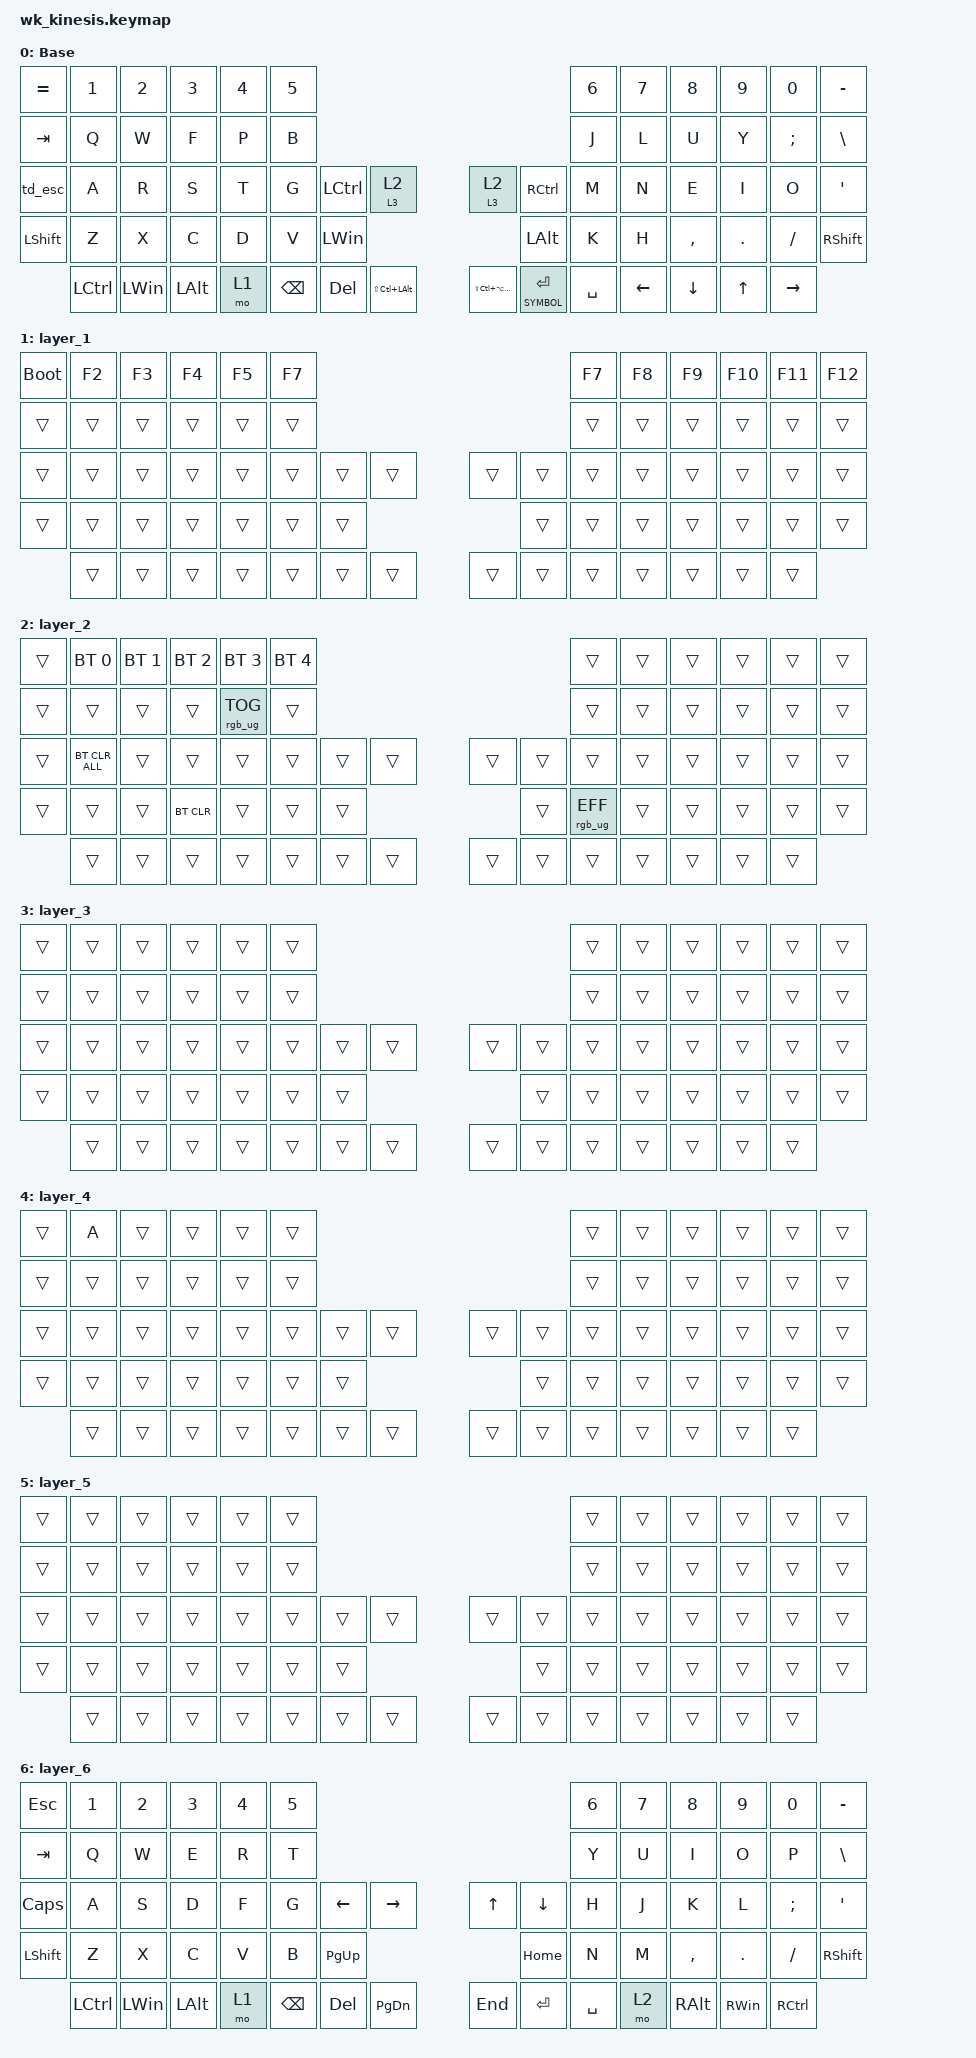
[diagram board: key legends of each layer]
#include <dt-bindings/zmk/mouse.h>
#include <behaviors.dtsi>
#include <dt-bindings/zmk/bt.h>
#include <dt-bindings/zmk/keys.h>
#include <dt-bindings/zmk/rgb.h>

#define HYPER LC(LS(LG(LALT)))
#define MEH LC(LS(LALT))

// layers

#define DEFAULT  0
#define SYMBOL   1
#define NUMBER   2
#define NAV      3
#define QWERTY   4
/ {
    behaviors {
        // For the "layer" key, it'd nice to be able to use it as either a shift or a toggle.
        // Configure it as a tap dance, so the first tap (or hold) is a &mo and the second tap is a &to

        lt: layer_tap {
            compatible = "zmk,behavior-hold-tap";
            #binding-cells = <2>;
            flavor = "hold-preferred";
            tapping-term-ms = <150>;
            bindings = <&mo>, <&kp>;

            display-name = "Layer-Tap";
        };

        td_esc: tap_dance_1 {
            compatible = "zmk,behavior-tap-dance";
            label = "ESC_CAPS";
            #binding-cells = <0>;
            tapping-term-ms = <200>;
            bindings = <&kp ESC>, <&kp CAPS>;
        };

        num_sym: num_sym {
            compatible = "zmk,behavior-hold-tap";
            label = "NUM_SYM";
            bindings = <&mo>, <&to>;

            #binding-cells = <2>;
            tapping-term-ms = <200>;
        };

        f10_qwerty_colemak: f10_qwerty_colemak {
            compatible = "zmk,behavior-tap-dance";
            label = "F10_QWERTY_COLEMAK";
            #binding-cells = <0>;
            bindings = <&kp F10>, <&to 0>, <&to 4>;
        };
    };

    combos {
        compatible = "zmk,combos";

 //       combo_esc {
 //           timeout-ms = <100>;
 //           layers = <0>;
 //           key-positions = <POS_LH_C6R5 POS_RH_C6R5>;
 //           bindings = <&caps_word>;
  //      };

        c_symbols {
            bindings = <&mo 1>;
            key-positions = <46 53>;
        };
    };

    conditional_layers { compatible = "zmk,conditional-layers"; };

    keymap {
        compatible = "zmk,keymap";

        default_layer {
            display-name = "Base";
            bindings = <
&kp EQUAL       &kp N1    &kp N2       &kp N3         &kp N4   &kp N5                                                                                         &kp N6  &kp N7    &kp N8     &kp N9   &kp N0     &kp MINUS
&kp TAB         &kp Q     &kp W        &kp F          &kp P    &kp B                                                                                          &kp J   &kp L     &kp U      &kp Y    &kp SEMI   &kp BSLH
&td_esc         &kp A     &kp R        &kp S          &kp T    &kp G         &kp LCTRL  &num_sym 3 2         &num_sym 3 2    &kp RCTRL                        &kp M   &kp N     &kp E      &kp I    &kp O      &kp SQT
&kp LSHFT      &kp Z      &kp X        &kp C          &kp D    &kp V                    &kp LEFT_WIN         &kp LEFT_ALT                             &kp K   &kp H   &kp COMMA  &kp DOT  &kp FSLH   &kp RSHFT
           &kp LCTRL  &kp LWIN  &kp LEFT_ALT  &mo 1           &kp BACKSPACE  &kp DELETE &kp LS(LC(LALT))     &kp LS(LC(LA(LG(LEFT_GUI))))  &lt SYMBOL RET  &kp SPACE  &kp LEFT  &kp DOWN   &kp UP   &kp RIGHT
            >;
        };

        layer_1 {
            bindings = <
&bootloader   &kp F2  &kp F3   &kp F4   &kp F5   &kp F7                                                       &kp F7   &kp F8   &kp F9   &kp F10   &kp F11   &kp F12 
&trans  &trans  &trans  &trans  &trans  &trans                                                      &trans  &trans  &trans  &trans  &trans  &trans
&trans  &trans  &trans  &trans  &trans  &trans          &trans  &trans      &trans  &trans          &trans  &trans  &trans  &trans  &trans  &trans
&trans  &trans  &trans  &trans  &trans  &trans                  &trans      &trans                  &trans  &trans  &trans  &trans  &trans  &trans
        &trans  &trans  &trans  &trans          &trans  &trans  &trans      &trans  &trans  &trans          &trans  &trans  &trans  &trans
            >;
        };

        layer_2 {
            bindings = <
&trans  &bt BT_SEL 0    &bt BT_SEL 1  &bt BT_SEL 2  &bt BT_SEL 3     &bt BT_SEL 4                                                      &trans           &trans  &trans  &trans  &trans  &trans
&trans  &trans          &trans        &trans        &rgb_ug RGB_TOG  &trans                                                            &trans           &trans  &trans  &trans  &trans  &trans
&trans  &bt BT_CLR_ALL  &trans        &trans        &trans           &trans                &trans  &trans      &trans  &trans          &trans           &trans  &trans  &trans  &trans  &trans
&trans  &trans          &trans        &bt BT_CLR    &trans           &trans                        &trans      &trans                  &rgb_ug RGB_EFF  &trans  &trans  &trans  &trans  &trans
        &trans          &trans        &trans        &trans                         &trans  &trans  &trans      &trans  &trans  &trans                   &trans  &trans  &trans  &trans
            >;
        };

        layer_3 {
            bindings = <
&trans  &trans  &trans  &trans  &trans  &trans                                                      &trans  &trans  &trans  &trans  &trans  &trans
&trans  &trans  &trans  &trans  &trans  &trans                                                      &trans  &trans  &trans  &trans  &trans  &trans
&trans  &trans  &trans  &trans  &trans  &trans          &trans  &trans      &trans  &trans          &trans  &trans  &trans  &trans  &trans  &trans
&trans  &trans  &trans  &trans  &trans  &trans                  &trans      &trans                  &trans  &trans  &trans  &trans  &trans  &trans
        &trans  &trans  &trans  &trans          &trans  &trans  &trans      &trans  &trans  &trans          &trans  &trans  &trans  &trans
            >;
        };

        layer_4 {
            bindings = <
&trans  &kp A   &trans  &trans  &trans  &trans                                                      &trans  &trans  &trans  &trans  &trans  &trans
&trans  &trans  &trans  &trans  &trans  &trans                                                      &trans  &trans  &trans  &trans  &trans  &trans
&trans  &trans  &trans  &trans  &trans  &trans          &trans  &trans      &trans  &trans          &trans  &trans  &trans  &trans  &trans  &trans
&trans  &trans  &trans  &trans  &trans  &trans                  &trans      &trans                  &trans  &trans  &trans  &trans  &trans  &trans
        &trans  &trans  &trans  &trans          &trans  &trans  &trans      &trans  &trans  &trans          &trans  &trans  &trans  &trans
            >;
        };

        layer_5 {
            bindings = <
&trans  &trans  &trans  &trans  &trans  &trans                                                      &trans  &trans  &trans  &trans  &trans  &trans
&trans  &trans  &trans  &trans  &trans  &trans                                                      &trans  &trans  &trans  &trans  &trans  &trans
&trans  &trans  &trans  &trans  &trans  &trans          &trans  &trans      &trans  &trans          &trans  &trans  &trans  &trans  &trans  &trans
&trans  &trans  &trans  &trans  &trans  &trans                  &trans      &trans                  &trans  &trans  &trans  &trans  &trans  &trans
        &trans  &trans  &trans  &trans          &trans  &trans  &trans      &trans  &trans  &trans          &trans  &trans  &trans  &trans
            >;
        };

        layer_6 {
                 bindings = <
&kp ESC    &kp N1     &kp N2    &kp N3        &kp N4  &kp N5                                                                                             &kp N6  &kp N7  &kp N8         &kp N9         &kp N0     &kp MINUS
&kp TAB    &kp Q      &kp W     &kp E         &kp R   &kp T                                                                                              &kp Y   &kp U   &kp I          &kp O          &kp P      &kp BSLH
&kp CAPS   &kp A      &kp S     &kp D         &kp F   &kp G                  &kp LEFT_ARROW  &kp RIGHT          &kp UP_ARROW  &kp DOWN_ARROW             &kp H   &kp J   &kp K          &kp L          &kp SEMI   &kp SQT
&kp LSHFT  &kp Z      &kp X     &kp C         &kp V   &kp B                                  &kp PG_UP          &kp HOME                                 &kp N   &kp M   &kp COMMA      &kp DOT        &kp FSLH   &kp RSHFT
           &kp LCTRL  &kp LWIN  &kp LEFT_ALT  &mo 1           &kp BACKSPACE  &kp DELETE      &kp PAGE_DOWN      &kp END       &kp ENTER       &kp SPACE          &mo 2   &kp RIGHT_ALT  &kp RIGHT_WIN  &kp RCTRL
            >;
        };
    };
};
